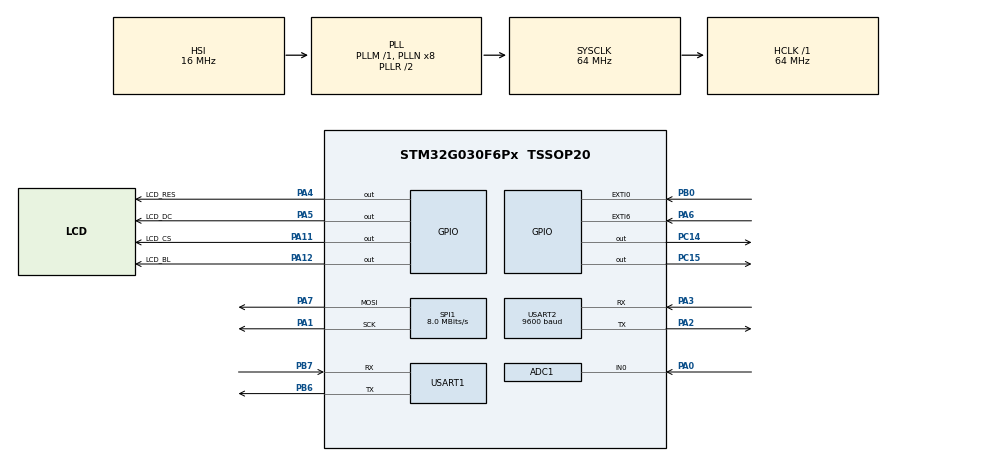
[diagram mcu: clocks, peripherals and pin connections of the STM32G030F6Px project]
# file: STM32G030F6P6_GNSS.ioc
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ADC1.Channel-0\#ChannelRegularConversion=ADC_CHANNEL_0
ADC1.Channel-1\#ChannelRegularConversion=ADC_CHANNEL_TEMPSENSOR
ADC1.Channel-2\#ChannelRegularConversion=ADC_CHANNEL_VREFINT
ADC1.ChannelTS=ADC_CHANNEL_TEMPSENSOR
ADC1.ChannelVREF=ADC_CHANNEL_VREFINT
ADC1.ClockPrescaler=ADC_CLOCK_SYNC_PCLK_DIV4
ADC1.ContinuousConvMode=ENABLE
ADC1.DMAContinuousRequests=ENABLE
ADC1.DiscontinuousConvMode=DISABLE
ADC1.EOCSelection=ADC_EOC_SINGLE_CONV
ADC1.NbrOfConversion=3
ADC1.NbrOfConversionFlag=1
ADC1.Rank-0\#ChannelRegularConversion=1
ADC1.Rank-1\#ChannelRegularConversion=2
ADC1.Rank-2\#ChannelRegularConversion=3
ADC1.SamplingTime-0\#ChannelRegularConversion=ADC_SAMPLINGTIME_COMMON_1
ADC1.SamplingTime-1\#ChannelRegularConversion=ADC_SAMPLINGTIME_COMMON_1
ADC1.SamplingTime-2\#ChannelRegularConversion=ADC_SAMPLINGTIME_COMMON_1
ADC1.SamplingTimeCommon1=ADC_SAMPLETIME_39CYCLES_5
ADC1.SelectedChannel=ADC_CHANNEL_0|ADC_CHANNEL_TEMPSENSOR|ADC_CHANNEL_VREFINT
ADC1.Sequencer=FULLY_CONFIGURABLE
ADC1.master=1
Dma.ADC1.1.Direction=DMA_PERIPH_TO_MEMORY
Dma.ADC1.1.EventEnable=DISABLE
Dma.ADC1.1.Instance=DMA1_Channel2
Dma.ADC1.1.MemDataAlignment=DMA_MDATAALIGN_WORD
Dma.ADC1.1.MemInc=DMA_MINC_ENABLE
Dma.ADC1.1.Mode=DMA_CIRCULAR
Dma.ADC1.1.PeriphDataAlignment=DMA_PDATAALIGN_WORD
Dma.ADC1.1.PeriphInc=DMA_PINC_DISABLE
Dma.ADC1.1.Polarity=HAL_DMAMUX_REQ_GEN_RISING
Dma.ADC1.1.Priority=DMA_PRIORITY_LOW
Dma.ADC1.1.RequestNumber=1
Dma.ADC1.1.SignalID=NONE
Dma.ADC1.1.SyncEnable=DISABLE
Dma.ADC1.1.SyncPolarity=HAL_DMAMUX_SYNC_NO_EVENT
Dma.ADC1.1.SyncRequestNumber=1
Dma.ADC1.1.SyncSignalID=NONE
Dma.Request0=USART2_RX
Dma.Request1=ADC1
Dma.USART2_RX.0.Direction=DMA_PERIPH_TO_MEMORY
Dma.USART2_RX.0.EventEnable=DISABLE
Dma.USART2_RX.0.Instance=DMA1_Channel1
Dma.USART2_RX.0.MemDataAlignment=DMA_MDATAALIGN_BYTE
Dma.USART2_RX.0.MemInc=DMA_MINC_ENABLE
Dma.USART2_RX.0.Mode=DMA_CIRCULAR
Dma.USART2_RX.0.PeriphDataAlignment=DMA_PDATAALIGN_BYTE
Dma.USART2_RX.0.PeriphInc=DMA_PINC_DISABLE
Dma.USART2_RX.0.Polarity=HAL_DMAMUX_REQ_GEN_RISING
Dma.USART2_RX.0.Priority=DMA_PRIORITY_VERY_HIGH
Dma.USART2_RX.0.RequestNumber=1
Dma.USART2_RX.0.SignalID=NONE
Dma.USART2_RX.0.SyncEnable=DISABLE
Dma.USART2_RX.0.SyncPolarity=HAL_DMAMUX_SYNC_NO_EVENT
Dma.USART2_RX.0.SyncRequestNumber=1
Dma.USART2_RX.0.SyncSignalID=NONE
IWDG.Prescaler=IWDG_PRESCALER_64
Mcu.Family=STM32G0
Mcu.Name=STM32G030F6Px
Mcu.Package=TSSOP20
NVIC.DMA1_Channel1_IRQn=true\:0\:0\:false\:false\:true\:false\:true\:true
NVIC.DMA1_Channel2_3_IRQn=true\:0\:0\:false\:false\:true\:false\:true\:true
NVIC.EXTI0_1_IRQn=true\:0\:0\:false\:false\:true\:true\:true\:true
NVIC.EXTI4_15_IRQn=true\:0\:0\:false\:false\:true\:true\:true\:true
NVIC.TIM14_IRQn=true\:0\:0\:false\:false\:true\:true\:true\:true
NVIC.USART2_IRQn=true\:0\:0\:false\:false\:true\:true\:true\:true
PA0.Mode=IN0
PA0.Signal=ADC1_IN0
PA1.Mode=TX_Only_Simplex_Unidirect_Master
PA1.Signal=SPI1_SCK
PA11\ [PA9].GPIO_Label=LCD_CS
PA11\ [PA9].GPIO_Speed=GPIO_SPEED_FREQ_HIGH
PA11\ [PA9].Signal=GPIO_Output
PA12\ [PA10].GPIO_Label=LCD_BL
PA12\ [PA10].Signal=GPIO_Output
PA13.Mode=Serial_Wire
PA13.Signal=SYS_SWDIO
PA14-BOOT0.Mode=Serial_Wire
PA14-BOOT0.Signal=SYS_SWCLK
PA14-BOOT0__PA15.StandardMode=true
PA2.Mode=Asynchronous
PA2.Signal=USART2_TX
PA3.Mode=Asynchronous
PA3.Signal=USART2_RX
PA4.GPIO_Label=LCD_RES
PA4.GPIO_Speed=GPIO_SPEED_FREQ_HIGH
PA4.Signal=GPIO_Output
PA5.GPIO_Label=LCD_DC
PA5.GPIO_Speed=GPIO_SPEED_FREQ_HIGH
PA5.Signal=GPIO_Output
PA6.GPIO_ModeDefaultEXTI=GPIO_MODE_IT_FALLING
PA6.GPIO_PuPd=GPIO_PULLUP
PA6.Signal=GPXTI6
PA7.Mode=TX_Only_Simplex_Unidirect_Master
PA7.Signal=SPI1_MOSI
PB0.GPIO_ModeDefaultEXTI=GPIO_MODE_IT_FALLING
PB0.GPIO_PuPd=GPIO_PULLUP
PB0.Signal=GPXTI0
PB0__PB1__PB2__PA8.StandardMode=true
PB3__PB4__PB5__PB6.StandardMode=true
PB6.Mode=Asynchronous
PB6.Signal=USART1_TX
PB7.Mode=Asynchronous
PB7.Signal=USART1_RX
PB7__PB8.StandardMode=true
PC14-OSC32_IN\ (PC14).Signal=GPIO_Output
PC14-OSC32_IN\ (PC14)__PB9.StandardMode=true
PC15-OSC32_OUT\ (PC15).Signal=GPIO_Output
ProjectManager.HeapSize=0x200
ProjectManager.StackSize=0x400
ProjectManager.TargetToolchain=MDK-ARM V5.32
RCC.ADCFreq_Value=64000000
RCC.AHBFreq_Value=64000000
RCC.CortexFreq_Value=64000000
RCC.EXTERNAL_CLOCK_VALUE=12288000
RCC.HCLKFreq_Value=64000000
RCC.HSE_VALUE=8000000
RCC.HSI_VALUE=16000000
RCC.LSE_VALUE=32768
RCC.SYSCLKFreq_VALUE=64000000
RCC.SYSCLKSource=RCC_SYSCLKSOURCE_PLLCLK
RCC.VCOOutputFreq_Value=128000000
SPI1.BaudRatePrescaler=SPI_BAUDRATEPRESCALER_8
SPI1.CalculateBaudRate=8.0 MBits/s
SPI1.Direction=SPI_DIRECTION_2LINES
SPI1.Mode=SPI_MODE_MASTER
SPI1.VirtualType=VM_MASTER
TIM14.Period=10000-1
TIM14.Prescaler=6400-1
USART1.VirtualMode-Asynchronous=VM_ASYNC
USART2.BaudRate=9600
USART2.VirtualMode-Asynchronous=VM_ASYNC
VP_ADC1_TempSens_Input.Mode=IN-TempSens
VP_ADC1_Vref_Input.Mode=IN-Vrefint
VP_IWDG_VS_IWDG.Mode=IWDG_Activate
VP_TIM14_VS_ClockSourceINT.Mode=Enable_Timer
board=custom

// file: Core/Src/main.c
/* USER CODE BEGIN Header */
/**
  ******************************************************************************
  * @file           : main.c
  * @brief          : Main program body
  ******************************************************************************
  * @attention
  *
  * Copyright (c) 2022 STMicroelectronics.
  * All rights reserved.
  *
  * This software is licensed under terms that can be found in the LICENSE file
  * in the root directory of this software component.
  * If no LICENSE file comes with this software, it is provided AS-IS.
  *
  ******************************************************************************
  */
/* USER CODE END Header */
#include "main.h"

/* USER CODE BEGIN Includes */
#include <air530z.h>
#include <st7735.h>
#include <disp.h>
/* USER CODE END Includes */

ADC_HandleTypeDef hadc1;
DMA_HandleTypeDef hdma_adc1;

IWDG_HandleTypeDef hiwdg;

SPI_HandleTypeDef hspi1;

TIM_HandleTypeDef htim14;

UART_HandleTypeDef huart1;
UART_HandleTypeDef huart2;
DMA_HandleTypeDef hdma_usart2_rx;

/* USER CODE BEGIN PV */
uint8_t softVer[]="1.6";

uint8_t sysVolt[]="0.00";
uint8_t batVolt[]="0.00";
uint8_t sysTemp[]="11.10";

volatile uint32_t counter;

GNSS_info gnss;
GNSS_info gnss_sim;

static uint8_t startHint[]="Waiting GNSS Signal";

volatile uint8_t refresh_flag=0;

uint32_t ADC_Data[4];

volatile uint16_t Vrefint;
volatile float Vdd;
volatile float Vbat;

volatile uint16_t TS_CAL1;
volatile float Temperature;

volatile uint8_t KeyL_PA6_Flag=0;
volatile uint32_t KeyR_PB0_Flag=1;

volatile uint8_t KeyL_PA6_Flag_Last=0;

extern uint8_t rptBuffer[120];
/* USER CODE END PV */

void SystemClock_Config(void);
static void MX_GPIO_Init(void);
static void MX_DMA_Init(void);
static void MX_SPI1_Init(void);
static void MX_USART1_UART_Init(void);
static void MX_USART2_UART_Init(void);
static void MX_ADC1_Init(void);
static void MX_IWDG_Init(void);
static void MX_TIM14_Init(void);

int main(void)
{

  /* MCU Configuration--------------------------------------------------------*/

  /* Reset of all peripherals, Initializes the Flash interface and the Systick. */
  HAL_Init();

  /* Configure the system clock */
  SystemClock_Config();

  /* Initialize all configured peripherals */
  MX_GPIO_Init();
  MX_DMA_Init();
  MX_SPI1_Init();
  MX_USART1_UART_Init();
  MX_USART2_UART_Init();
  MX_ADC1_Init();
  MX_IWDG_Init();
  MX_TIM14_Init();
  /* USER CODE BEGIN 2 */
	HAL_ADCEx_Calibration_Start(&hadc1);

	Vrefint=*(uint16_t*)(0x1FFF75AA);
	TS_CAL1=*(uint16_t*)(0x1FFF75A8);

	HAL_GPIO_WritePin(GPIOC,GPIO_PIN_14,GPIO_PIN_RESET);
	HAL_GPIO_WritePin(GPIOC,GPIO_PIN_15,GPIO_PIN_RESET);

	HAL_Delay(500);

	HAL_IWDG_Refresh(&hiwdg);
	ST7735_BackLight_OFF();
	ST7735_Init();

	ST7735_FillScreen(ST7735_BLACK);
	ST7735_WriteString(15,7,"GNSS Locater",Font_11x18,ST7735_WHITE,ST7735_BLACK);
	ST7735_FillRectangle(0,28,160,1,ST7735_GREEN);
	ST7735_WriteString(3,35,"Location Based Service",Font_7x10,ST7735_CYAN,ST7735_BLACK);
	ST7735_WriteString(15,49,"Beidou+GPS+Glonass",Font_7x10,ST7735_WHITE,ST7735_BLACK);
	ST7735_WriteString(0,67,"BH8PHG 2022",Font_7x10,ST7735_GREEN,ST7735_BLACK);
	ST7735_WriteString(110,67,"Ver:",Font_7x10,ST7735_WHITE,ST7735_BLACK);
	ST7735_WriteString(138,67,(char*)softVer,Font_7x10,ST7735_WHITE,ST7735_BLACK);

	ST7735_BackLight_ON();
	HAL_IWDG_Refresh(&hiwdg);

	HAL_Delay(4000);

	air530z_init();

	ST7735_BackLight_OFF();
	ST7735_FillScreen(ST7735_BLACK);
	disp_Frame();
	HAL_GPIO_WritePin(GPIOC,GPIO_PIN_14,GPIO_PIN_SET);
	HAL_GPIO_WritePin(GPIOC,GPIO_PIN_15,GPIO_PIN_SET);
	ST7735_BackLight_ON();
	HAL_IWDG_Refresh(&hiwdg);

	HAL_ADC_Start_DMA(&hadc1,ADC_Data,3);
	HAL_TIM_Base_Start_IT(&htim14);

  /* USER CODE END 2 */

  /* Infinite loop */
  /* USER CODE BEGIN WHILE */
  while (1)
  {
		if(refresh_flag==1){

			show_basicStatus(gnss,Vbat,Temperature);

			if(KeyL_PA6_Flag!=KeyL_PA6_Flag_Last){
				ST7735_BackLight_OFF();
				ST7735_FillScreen(ST7735_BLACK);
				KeyL_PA6_Flag_Last=KeyL_PA6_Flag;
				if(KeyL_PA6_Flag==0){
					disp_Frame();
				}
				ST7735_BackLight_ON();
			}

			switch(KeyL_PA6_Flag){
				case 0:
					show_detailGNSS(gnss);
				break;
				case 1:
					show_bigTime(gnss);
				break;
				case 2:
					show_speed(gnss);
				break;
				case 3:
					show_sysInfo(sysTemp,sysVolt,batVolt,softVer);
				break;
				case 4:
					show_originalData(rptBuffer,gnss);
				break;
			}

		refresh_flag=0;

	}
		Vdd=3.0*((Vrefint*1.0)/(ADC_Data[2]*1.0));
		Vbat=((ADC_Data[0]*2.0)/4095.0)*Vdd;

		Temperature=(30.0f)/(TS_CAL1)*((float)ADC_Data[1]-TS_CAL1)+30.0f;
    /* USER CODE END WHILE */

  }
}

void SystemClock_Config(void)
{
  RCC_OscInitTypeDef RCC_OscInitStruct = {0};
  RCC_ClkInitTypeDef RCC_ClkInitStruct = {0};

  /** Configure the main internal regulator output voltage
  */
  HAL_PWREx_ControlVoltageScaling(PWR_REGULATOR_VOLTAGE_SCALE1);

  /** Initializes the RCC Oscillators according to the specified parameters
  * in the RCC_OscInitTypeDef structure.
  */
  RCC_OscInitStruct.OscillatorType = RCC_OSCILLATORTYPE_HSI|RCC_OSCILLATORTYPE_LSI;
  RCC_OscInitStruct.HSIState = RCC_HSI_ON;
  RCC_OscInitStruct.HSIDiv = RCC_HSI_DIV1;
  RCC_OscInitStruct.HSICalibrationValue = RCC_HSICALIBRATION_DEFAULT;
  RCC_OscInitStruct.LSIState = RCC_LSI_ON;
  RCC_OscInitStruct.PLL.PLLState = RCC_PLL_ON;
  RCC_OscInitStruct.PLL.PLLSource = RCC_PLLSOURCE_HSI;
  RCC_OscInitStruct.PLL.PLLM = RCC_PLLM_DIV1;
  RCC_OscInitStruct.PLL.PLLN = 8;
  RCC_OscInitStruct.PLL.PLLP = RCC_PLLP_DIV2;
  RCC_OscInitStruct.PLL.PLLR = RCC_PLLR_DIV2;
  if (HAL_RCC_OscConfig(&RCC_OscInitStruct) != HAL_OK)
  {
    Error_Handler();
  }

  /** Initializes the CPU, AHB and APB buses clocks
  */
  RCC_ClkInitStruct.ClockType = RCC_CLOCKTYPE_HCLK|RCC_CLOCKTYPE_SYSCLK
                              |RCC_CLOCKTYPE_PCLK1;
  RCC_ClkInitStruct.SYSCLKSource = RCC_SYSCLKSOURCE_PLLCLK;
  RCC_ClkInitStruct.AHBCLKDivider = RCC_SYSCLK_DIV1;
  RCC_ClkInitStruct.APB1CLKDivider = RCC_HCLK_DIV1;

  if (HAL_RCC_ClockConfig(&RCC_ClkInitStruct, FLASH_LATENCY_2) != HAL_OK)
  {
    Error_Handler();
  }
}

static void MX_ADC1_Init(void)
{

  ADC_ChannelConfTypeDef sConfig = {0};

  /** Configure the global features of the ADC (Clock, Resolution, Data Alignment and number of conversion)
  */
  hadc1.Instance = ADC1;
  hadc1.Init.ClockPrescaler = ADC_CLOCK_SYNC_PCLK_DIV4;
  hadc1.Init.Resolution = ADC_RESOLUTION_12B;
  hadc1.Init.DataAlign = ADC_DATAALIGN_RIGHT;
  hadc1.Init.ScanConvMode = ADC_SCAN_ENABLE;
  hadc1.Init.EOCSelection = ADC_EOC_SINGLE_CONV;
  hadc1.Init.LowPowerAutoWait = DISABLE;
  hadc1.Init.LowPowerAutoPowerOff = DISABLE;
  hadc1.Init.ContinuousConvMode = ENABLE;
  hadc1.Init.NbrOfConversion = 3;
  hadc1.Init.DiscontinuousConvMode = DISABLE;
  hadc1.Init.ExternalTrigConv = ADC_SOFTWARE_START;
  hadc1.Init.ExternalTrigConvEdge = ADC_EXTERNALTRIGCONVEDGE_NONE;
  hadc1.Init.DMAContinuousRequests = ENABLE;
  hadc1.Init.Overrun = ADC_OVR_DATA_PRESERVED;
  hadc1.Init.SamplingTimeCommon1 = ADC_SAMPLETIME_39CYCLES_5;
  hadc1.Init.SamplingTimeCommon2 = ADC_SAMPLETIME_1CYCLE_5;
  hadc1.Init.OversamplingMode = DISABLE;
  hadc1.Init.TriggerFrequencyMode = ADC_TRIGGER_FREQ_HIGH;
  if (HAL_ADC_Init(&hadc1) != HAL_OK)
  {
    Error_Handler();
  }

  /** Configure Regular Channel
  */
  sConfig.Channel = ADC_CHANNEL_0;
  sConfig.Rank = ADC_REGULAR_RANK_1;
  sConfig.SamplingTime = ADC_SAMPLINGTIME_COMMON_1;
  if (HAL_ADC_ConfigChannel(&hadc1, &sConfig) != HAL_OK)
  {
    Error_Handler();
  }

  /** Configure Regular Channel
  */
  sConfig.Channel = ADC_CHANNEL_TEMPSENSOR;
  sConfig.Rank = ADC_REGULAR_RANK_2;
  if (HAL_ADC_ConfigChannel(&hadc1, &sConfig) != HAL_OK)
  {
    Error_Handler();
  }

  /** Configure Regular Channel
  */
  sConfig.Channel = ADC_CHANNEL_VREFINT;
  sConfig.Rank = ADC_REGULAR_RANK_3;
  if (HAL_ADC_ConfigChannel(&hadc1, &sConfig) != HAL_OK)
  {
    Error_Handler();
  }

}

static void MX_IWDG_Init(void)
{

  hiwdg.Instance = IWDG;
  hiwdg.Init.Prescaler = IWDG_PRESCALER_64;
  hiwdg.Init.Window = 4095;
  hiwdg.Init.Reload = 4095;
  if (HAL_IWDG_Init(&hiwdg) != HAL_OK)
  {
    Error_Handler();
  }

}

static void MX_SPI1_Init(void)
{

  /* SPI1 parameter configuration*/
  hspi1.Instance = SPI1;
  hspi1.Init.Mode = SPI_MODE_MASTER;
  hspi1.Init.Direction = SPI_DIRECTION_2LINES;
  hspi1.Init.DataSize = SPI_DATASIZE_8BIT;
  hspi1.Init.CLKPolarity = SPI_POLARITY_LOW;
  hspi1.Init.CLKPhase = SPI_PHASE_1EDGE;
  hspi1.Init.NSS = SPI_NSS_SOFT;
  hspi1.Init.BaudRatePrescaler = SPI_BAUDRATEPRESCALER_8;
  hspi1.Init.FirstBit = SPI_FIRSTBIT_MSB;
  hspi1.Init.TIMode = SPI_TIMODE_DISABLE;
  hspi1.Init.CRCCalculation = SPI_CRCCALCULATION_DISABLE;
  hspi1.Init.CRCPolynomial = 7;
  hspi1.Init.CRCLength = SPI_CRC_LENGTH_DATASIZE;
  hspi1.Init.NSSPMode = SPI_NSS_PULSE_ENABLE;
  if (HAL_SPI_Init(&hspi1) != HAL_OK)
  {
    Error_Handler();
  }

}

static void MX_TIM14_Init(void)
{

  htim14.Instance = TIM14;
  htim14.Init.Prescaler = 6400-1;
  htim14.Init.CounterMode = TIM_COUNTERMODE_UP;
  htim14.Init.Period = 10000-1;
  htim14.Init.ClockDivision = TIM_CLOCKDIVISION_DIV1;
  htim14.Init.AutoReloadPreload = TIM_AUTORELOAD_PRELOAD_DISABLE;
  if (HAL_TIM_Base_Init(&htim14) != HAL_OK)
  {
    Error_Handler();
  }

}

static void MX_USART1_UART_Init(void)
{

  huart1.Instance = USART1;
  huart1.Init.BaudRate = 115200;
  huart1.Init.WordLength = UART_WORDLENGTH_8B;
  huart1.Init.StopBits = UART_STOPBITS_1;
  huart1.Init.Parity = UART_PARITY_NONE;
  huart1.Init.Mode = UART_MODE_TX_RX;
  huart1.Init.HwFlowCtl = UART_HWCONTROL_NONE;
  huart1.Init.OverSampling = UART_OVERSAMPLING_16;
  huart1.Init.OneBitSampling = UART_ONE_BIT_SAMPLE_DISABLE;
  huart1.Init.ClockPrescaler = UART_PRESCALER_DIV1;
  huart1.AdvancedInit.AdvFeatureInit = UART_ADVFEATURE_NO_INIT;
  if (HAL_UART_Init(&huart1) != HAL_OK)
  {
    Error_Handler();
  }
  if (HAL_UARTEx_SetTxFifoThreshold(&huart1, UART_TXFIFO_THRESHOLD_1_8) != HAL_OK)
  {
    Error_Handler();
  }
  if (HAL_UARTEx_SetRxFifoThreshold(&huart1, UART_RXFIFO_THRESHOLD_1_8) != HAL_OK)
  {
    Error_Handler();
  }
  if (HAL_UARTEx_DisableFifoMode(&huart1) != HAL_OK)
  {
    Error_Handler();
  }

}

static void MX_USART2_UART_Init(void)
{

  huart2.Instance = USART2;
  huart2.Init.BaudRate = 9600;
  huart2.Init.WordLength = UART_WORDLENGTH_8B;
  huart2.Init.StopBits = UART_STOPBITS_1;
  huart2.Init.Parity = UART_PARITY_NONE;
  huart2.Init.Mode = UART_MODE_TX_RX;
  huart2.Init.HwFlowCtl = UART_HWCONTROL_NONE;
  huart2.Init.OverSampling = UART_OVERSAMPLING_16;
  huart2.Init.OneBitSampling = UART_ONE_BIT_SAMPLE_DISABLE;
  huart2.Init.ClockPrescaler = UART_PRESCALER_DIV1;
  huart2.AdvancedInit.AdvFeatureInit = UART_ADVFEATURE_NO_INIT;
  if (HAL_UART_Init(&huart2) != HAL_OK)
  {
    Error_Handler();
  }

}

static void MX_DMA_Init(void)
{

  /* DMA controller clock enable */
  __HAL_RCC_DMA1_CLK_ENABLE();

  /* DMA interrupt init */
  /* DMA1_Channel1_IRQn interrupt configuration */
  HAL_NVIC_SetPriority(DMA1_Channel1_IRQn, 0, 0);
  HAL_NVIC_EnableIRQ(DMA1_Channel1_IRQn);
  /* DMA1_Channel2_3_IRQn interrupt configuration */
  HAL_NVIC_SetPriority(DMA1_Channel2_3_IRQn, 0, 0);
  HAL_NVIC_EnableIRQ(DMA1_Channel2_3_IRQn);

}

static void MX_GPIO_Init(void)
{
  GPIO_InitTypeDef GPIO_InitStruct = {0};

  /* GPIO Ports Clock Enable */
  __HAL_RCC_GPIOB_CLK_ENABLE();
  __HAL_RCC_GPIOC_CLK_ENABLE();
  __HAL_RCC_GPIOA_CLK_ENABLE();

  /*Configure GPIO pin Output Level */
  HAL_GPIO_WritePin(GPIOC, GPIO_PIN_14|GPIO_PIN_15, GPIO_PIN_RESET);

  /*Configure GPIO pin Output Level */
  HAL_GPIO_WritePin(GPIOA, LCD_RES_Pin|LCD_DC_Pin|LCD_CS_Pin|LCD_BL_Pin, GPIO_PIN_RESET);

  /*Configure GPIO pins : PC14 PC15 */
  GPIO_InitStruct.Pin = GPIO_PIN_14|GPIO_PIN_15;
  GPIO_InitStruct.Mode = GPIO_MODE_OUTPUT_PP;
  GPIO_InitStruct.Pull = GPIO_NOPULL;
  GPIO_InitStruct.Speed = GPIO_SPEED_FREQ_LOW;
  HAL_GPIO_Init(GPIOC, &GPIO_InitStruct);

  /*Configure GPIO pins : LCD_RES_Pin LCD_DC_Pin LCD_CS_Pin */
  GPIO_InitStruct.Pin = LCD_RES_Pin|LCD_DC_Pin|LCD_CS_Pin;
  GPIO_InitStruct.Mode = GPIO_MODE_OUTPUT_PP;
  GPIO_InitStruct.Pull = GPIO_NOPULL;
  GPIO_InitStruct.Speed = GPIO_SPEED_FREQ_HIGH;
  HAL_GPIO_Init(GPIOA, &GPIO_InitStruct);

  /*Configure GPIO pin : PA6 */
  GPIO_InitStruct.Pin = GPIO_PIN_6;
  GPIO_InitStruct.Mode = GPIO_MODE_IT_FALLING;
  GPIO_InitStruct.Pull = GPIO_PULLUP;
  HAL_GPIO_Init(GPIOA, &GPIO_InitStruct);

  /*Configure GPIO pin : PB0 */
  GPIO_InitStruct.Pin = GPIO_PIN_0;
  GPIO_InitStruct.Mode = GPIO_MODE_IT_FALLING;
  GPIO_InitStruct.Pull = GPIO_PULLUP;
  HAL_GPIO_Init(GPIOB, &GPIO_InitStruct);

  /*Configure GPIO pin : LCD_BL_Pin */
  GPIO_InitStruct.Pin = LCD_BL_Pin;
  GPIO_InitStruct.Mode = GPIO_MODE_OUTPUT_PP;
  GPIO_InitStruct.Pull = GPIO_NOPULL;
  GPIO_InitStruct.Speed = GPIO_SPEED_FREQ_LOW;
  HAL_GPIO_Init(LCD_BL_GPIO_Port, &GPIO_InitStruct);

  /* EXTI interrupt init*/
  HAL_NVIC_SetPriority(EXTI0_1_IRQn, 0, 0);
  HAL_NVIC_EnableIRQ(EXTI0_1_IRQn);

  HAL_NVIC_SetPriority(EXTI4_15_IRQn, 0, 0);
  HAL_NVIC_EnableIRQ(EXTI4_15_IRQn);

}

/* USER CODE BEGIN 4 */
void HAL_UART_RxCpltCallback(UART_HandleTypeDef *huart){
		HAL_IWDG_Refresh(&hiwdg);
		counter++;
		air530z_rpt();
		gnss=air530z_dataGet();

		if(Temperature>=10.0||Temperature<0.0){
			sprintf((char*)sysTemp,"%.1lf",(double)Temperature);
		}
		if(Temperature>=0.0&&Temperature<10.0){
			sprintf((char*)sysTemp,"%.2lf",(double)Temperature);
		}

		sprintf((char*)sysVolt,"%.2lf",(double)Vdd);
		sprintf((char*)batVolt,"%.2lf",(double)Vbat);

		refresh_flag=1;
	//HAL_UART_Receive_DMA(AIR551G_uart,rxBuffer,200); //Reopen UART
}

void HAL_GPIO_EXTI_Falling_Callback(uint16_t GPIO_Pin){
	if(GPIO_Pin==GPIO_PIN_0){
		if(KeyL_PA6_Flag>=4){
			KeyL_PA6_Flag=0;
		}else{
			KeyL_PA6_Flag+=1;
		}
	}

	if(GPIO_Pin==GPIO_PIN_6){
		KeyR_PB0_Flag+=1;
	}
}

void HAL_TIM_PeriodElapsedCallback(TIM_HandleTypeDef *htim)
{
  /* Prevent unused argument(s) compilation warning */
  if((htim==&htim14)&&(Vbat<3.72)){
      HAL_GPIO_TogglePin(GPIOC,GPIO_PIN_14);
			UNUSED(htim);
	}else{
		HAL_GPIO_WritePin(GPIOC,GPIO_PIN_14,GPIO_PIN_SET);
	}
  /* NOTE : This function should not be modified, when the callback is needed,
            the HAL_TIM_PeriodElapsedCallback could be implemented in the user file
   */
}
/* USER CODE END 4 */

void Error_Handler(void)
{
  __disable_irq();
  while (1)
  {
  }
}
